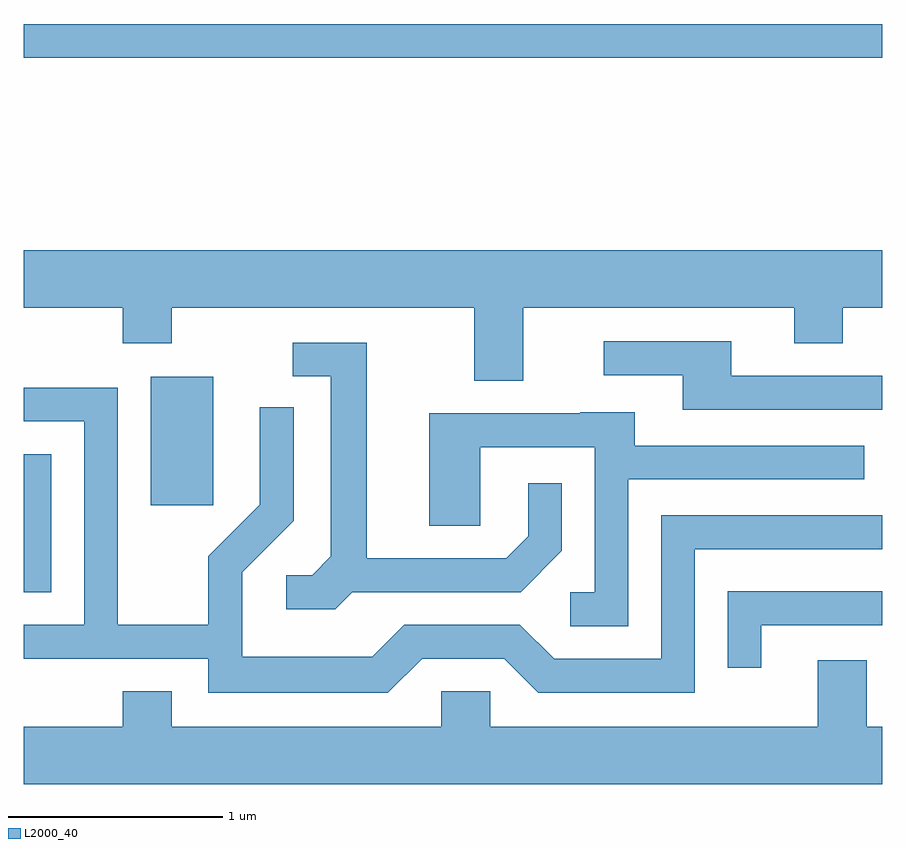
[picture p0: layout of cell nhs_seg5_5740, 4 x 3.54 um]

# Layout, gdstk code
import gdstk
lib = gdstk.Library(unit=1e-6, precision=1e-09)
def R(c, l, rs):  # rectangles x0, y0, x1, y1
    for r in rs: c.add(gdstk.rectangle(r[:2], r[2:], *l))
def P(c, l, *ps):  # polygons
    for p in ps: c.add(gdstk.Polygon(p, *l))
L2000_40 = (2000, 40)

nhs_seg5_5740 = lib.new_cell('nhs_seg5_5740')
R(nhs_seg5_5740, L2000_40, [(355.611,1431.051,355.739,1431.694), (356.201,1431.456,356.494,1432.054), (355.611,1433.541,359.611,1433.699)])
P(nhs_seg5_5740, L2000_40, [(357.939,1432.376),(359.201,1432.376),(359.201,1432.211),(359.429,1432.211),(359.429,1432.376),(359.611,1432.376),(359.611,1432.644),(355.611,1432.644),(355.611,1432.376),(356.071,1432.376),(356.071,1432.211),(356.299,1432.211),(356.299,1432.376),(357.711,1432.376),(357.711,1432.036),(357.939,1432.036)],
  [(359.611,1432.059),(358.909,1432.059),(358.909,1432.219),(358.313,1432.219),(358.313,1432.061),(358.681,1432.061),(358.681,1431.901),(359.611,1431.901)],
  [(357.142,1431.051),(357.927,1431.051),(358.119,1431.244),(358.119,1431.558),(357.961,1431.558),(357.961,1431.312),(357.859,1431.209),(357.209,1431.209),(357.209,1432.214),(356.863,1432.214),(356.863,1432.056),(357.041,1432.056),(357.041,1431.217),(356.954,1431.129),(356.833,1431.129),(356.833,1430.971),(357.062,1430.971)],
  [(357.467,1430.741),(357.849,1430.741),(358.009,1430.581),(358.739,1430.581),(358.739,1431.251),(359.611,1431.251),(359.611,1431.409),(358.581,1431.409),(358.581,1430.739),(358.082,1430.739),(357.922,1430.899),(357.384,1430.899),(357.234,1430.749),(356.629,1430.749),(356.629,1431.144),(356.869,1431.384),(356.869,1431.913),(356.711,1431.913),(356.711,1431.457),(356.471,1431.217),(356.471,1430.899),(356.049,1430.899),(356.049,1432.004),(355.611,1432.004),(355.611,1431.846),(355.891,1431.846),(355.891,1430.899),(355.611,1430.899),(355.611,1430.741),(356.471,1430.741),(356.471,1430.581),(357.307,1430.581)],
  [(358.429,1431.576),(359.528,1431.576),(359.528,1431.734),(358.459,1431.734),(358.459,1431.889),(358.205,1431.889),(358.205,1431.884),(357.501,1431.884),(357.501,1431.361),(357.739,1431.361),(357.739,1431.726),(358.271,1431.726),(358.271,1431.049),(358.158,1431.049),(358.158,1430.891),(358.429,1430.891)],
  [(359.049,1430.896),(359.611,1430.896),(359.611,1431.054),(358.891,1431.054),(358.891,1430.698),(359.049,1430.698)],
  [(359.611,1430.424),(359.539,1430.424),(359.539,1430.734),(359.311,1430.734),(359.311,1430.424),(357.784,1430.424),(357.784,1430.589),(357.556,1430.589),(357.556,1430.424),(356.299,1430.424),(356.299,1430.589),(356.071,1430.589),(356.071,1430.424),(355.611,1430.424),(355.611,1430.156),(359.611,1430.156)])

lib.write_gds('nhs_seg5_5740.gds')
